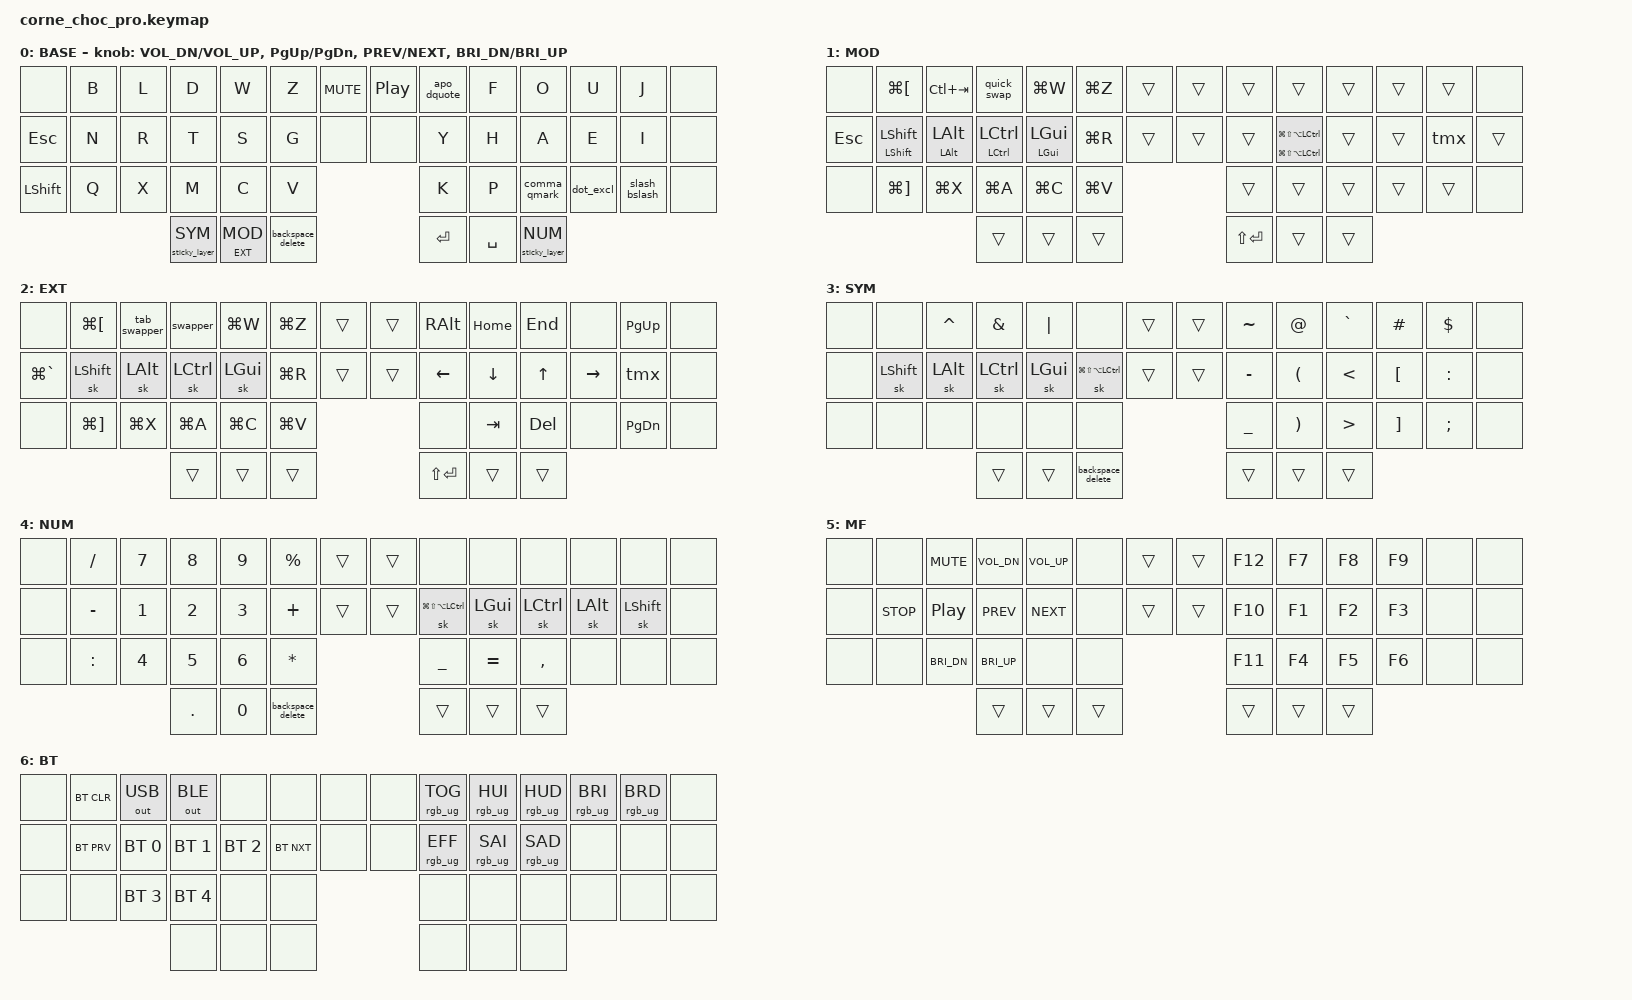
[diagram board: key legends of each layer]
//
// Corne Choc Pro layout — synced from Totem config
// - Graphite base
// - Dedicated MOD layer instead of base home row mods
// - Hold EXT for navigation/editing, tap EXT for sticky MOD
// - EXT left hand: one-handed mouse companion (swapper, history, clipboard),
//   mirrored on MOD so tap-then-key one-shots the same shortcuts
// - Dedicated Escape on the far-left home row; Shift directly below it
// - Dedicated Backspace, Enter, and Space; sticky-tap/held SYM and NUM
// - Backspace stays on the inner-left thumb on SYM and NUM (Shift + Backspace sends Delete)
// - Delete stays on the EXT comma position
// - Symbols prioritized for markup and writing
// - SYM + NUM opens the shared media/function layer
// - MOD/EXT + NUM opens the BT layer
// - BT controls on left, RGB controls on right of BT layer
//
// Extra Corne keys vs Totem:
//   Middle-row left outer (pos 14) → Escape
//   Bottom-row left outer (pos 28) → Shift
//   Top-row outers (pos 0, 13), middle-row right outer (pos 27),
//   and bottom-row right outer (pos 39) → &none
//   Center keys (pos 6, 7, 20, 21) → encoder press / &none

#include <behaviors.dtsi>
#include <dt-bindings/zmk/keys.h>
#include <dt-bindings/zmk/bt.h>
#include <dt-bindings/zmk/outputs.h>
#include <dt-bindings/zmk/rgb.h>

#define BASE 0
#define MOD  1
#define EXT  2
#define SYM  3
#define NUM  4
#define MF   5
#define BT   6

#define HYPER_MOD LG(LS(LA(LCTRL)))

/ {
    chosen {
        zmk,physical-layout = &default_layout;
    };
};

/ {
    behaviors {
        apo_dquote: apostrophe_doublequote {
            compatible = "zmk,behavior-mod-morph";
            #binding-cells = <0>;
            bindings = <&kp SQT>, <&kp DQT>;
            mods = <(MOD_LSFT|MOD_RSFT)>;
        };

        comma_qmark: comma_question_mark {
            compatible = "zmk,behavior-mod-morph";
            #binding-cells = <0>;
            bindings = <&kp COMMA>, <&kp QMARK>;
            mods = <(MOD_LSFT|MOD_RSFT)>;
        };

        dot_excl: dot_exclamation {
            compatible = "zmk,behavior-mod-morph";
            #binding-cells = <0>;
            bindings = <&kp DOT>, <&kp EXCL>;
            mods = <(MOD_LSFT|MOD_RSFT)>;
        };

        slash_bslash: slash_backslash {
            compatible = "zmk,behavior-mod-morph";
            #binding-cells = <0>;
            bindings = <&kp FSLH>, <&kp BSLH>;
            mods = <(MOD_LSFT|MOD_RSFT)>;
        };

        backspace_delete: backspace_delete {
            compatible = "zmk,behavior-mod-morph";
            #binding-cells = <0>;
            bindings = <&kp BSPC>, <&kp DEL>;
            mods = <(MOD_LSFT|MOD_RSFT)>;
        };

        hm: hybrid_mod {
            compatible = "zmk,behavior-hold-tap";
            #binding-cells = <2>;
            flavor = "tap-preferred";
            tapping-term-ms = <300>;
            quick-tap-ms = <175>;
            bindings = <&kp>, <&sk>;
            retro-tap;
        };

        ext_mod: ext_or_mod {
            compatible = "zmk,behavior-hold-tap";
            #binding-cells = <2>;
            flavor = "balanced";
            tapping-term-ms = <200>;
            quick-tap-ms = <175>;
            bindings = <&mo>, <&sl>;
            retro-tap;
        };

        // Cmd-Tab app switcher: holds Cmd across taps, released on
        // interrupt (any other key or leaving EXT). Sticky Shift (pos 15)
        // is ignored so it can reverse-cycle without dropping Cmd.
        swapper: swapper {
            compatible = "zmk,behavior-tri-state";
            #binding-cells = <0>;
            bindings = <&kt LGUI>, <&kp TAB>, <&kt LGUI>;
            ignored-key-positions = <15>;
        };

        // Ctrl-Tab tab switcher: same tri-state as swapper but holds Ctrl,
        // so taps cycle tabs while the browser switcher stays up. Sticky
        // Shift (pos 15) is ignored so it can reverse-cycle (Ctrl+Shift+Tab).
        tab_swapper: tab_swapper {
            compatible = "zmk,behavior-tri-state";
            #binding-cells = <0>;
            bindings = <&kt LCTRL>, <&kp TAB>, <&kt LCTRL>;
            ignored-key-positions = <15>;
        };

        // SYM/NUM activate immediately, stay sticky when tapped, and behave
        // momentarily when a non-modifier is pressed while held. Modifier
        // presses do not consume the sticky layer, allowing e.g. tap NUM,
        // tap Ctrl+Shift, then tap 1.
        sticky_layer: sticky_or_held_layer {
            compatible = "zmk,behavior-sticky-key";
            #binding-cells = <1>;
            release-after-ms = <1000>;
            bindings = <&mo>;
            quick-release;
            ignore-modifiers;
        };
    };

    macros {
        // Instant switch to previous app: Cmd released right away so
        // the macOS switcher UI never shows (unlike &kp LG(TAB)).
        quick_swap: quick_app_swap {
            compatible = "zmk,behavior-macro";
            #binding-cells = <0>;
            bindings = <&macro_press &kp LGUI>,
                       <&macro_tap &kp TAB>,
                       <&macro_release &kp LGUI>;
        };

        tmx: tmux_prefix {
            compatible = "zmk,behavior-macro";
            #binding-cells = <0>;
            bindings = <&macro_press &kp LCTRL>,
                       <&macro_tap &kp SPACE>,
                       <&macro_release &kp LCTRL>;
        };
    };

    combos {
        compatible = "zmk,combos";

        // Word-left: H + A (Corne positions 23 + 24)
        combo_word_left {
            timeout-ms = <50>;
            key-positions = <23 24>;
            bindings = <&kp LA(LEFT)>;
            layers = <EXT>;
        };

        // Word-right: A + E (Corne positions 24 + 25)
        combo_word_right {
            timeout-ms = <50>;
            key-positions = <24 25>;
            bindings = <&kp LA(RIGHT)>;
            layers = <EXT>;
        };

        // Keep parentheses, angle brackets, and square brackets on direct keys.
        // Braces use the same index-middle fingers: openings above, closings below.
        combo_sym_lbrc {
            timeout-ms = <50>;
            key-positions = <23 24>;
            bindings = <&kp LBRC>;
            layers = <SYM>;
        };

        combo_sym_rbrc {
            timeout-ms = <50>;
            key-positions = <35 36>;
            bindings = <&kp RBRC>;
            layers = <SYM>;
        };

        // The mirrored outer layer thumbs open Media/Function together.
        // Media/Function: SYM + NUM (Corne positions 40 + 45)
        combo_mf_layer_thumbs {
            timeout-ms = <100>;
            key-positions = <40 45>;
            bindings = <&mo MF>;
            layers = <BASE>;
        };

        // MOD/EXT + the right outer NUM key is reserved for maintenance.
        // BT layer: Corne positions 41 + 45.
        combo_bt {
            timeout-ms = <100>;
            key-positions = <41 45>;
            bindings = <&mo BT>;
            layers = <BASE>;
        };
    };

    keymap {
        compatible = "zmk,keymap";

        base_layer {
            label = "BASE";
            bindings = <
        //  ┌─extra─┐                                                          ┌─enc──┐ ┌─enc──┐                                                          ┌─extra─┐
            &none     &kp B        &kp L        &kp D        &kp W     &kp Z    &kp C_MUTE &kp C_PP &apo_dquote &kp F        &kp O        &kp U        &kp J     &none
        //  ┌outer-L┐                                                          ┌─ctr──┐ ┌─ctr──┐                                                          ┌outer-R┐
            &kp ESC    &kp N       &kp R        &kp T        &kp S     &kp G    &none  &none    &kp Y       &kp H        &kp A        &kp E        &kp I     &none
        //  ┌─extra─┐                                                                                                                                      ┌─extra─┐
            &kp LSHFT  &kp Q        &kp X        &kp M        &kp C     &kp V                    &kp K       &kp P        &comma_qmark &dot_excl    &slash_bslash &none
                                          &sticky_layer SYM      &ext_mod EXT MOD  &backspace_delete                    &kp RET  &kp SPACE  &sticky_layer NUM
            >;
            sensor-bindings = <&inc_dec_kp C_VOL_DN C_VOL_UP &inc_dec_kp PG_UP PG_DN &inc_dec_kp C_PREV C_NEXT &inc_dec_kp C_BRI_DN C_BRI_UP>;
        };

        mod_layer {
            label = "MOD";
            bindings = <
            &none        &kp LG(LBKT)  &kp LC(TAB)  &quick_swap  &kp LG(W)    &kp LG(Z)        &trans &trans &trans       &trans       &trans       &trans       &trans       &none
            &kp ESC       &hm LSHFT LSHFT &hm LALT LALT &hm LCTRL LCTRL &hm LGUI LGUI &kp LG(R) &trans &trans &trans &hm HYPER_MOD HYPER_MOD &trans &trans &tmx &trans
            &none        &kp LG(RBKT)  &kp LG(X)    &kp LG(A)    &kp LG(C)    &kp LG(V)                     &trans       &trans       &trans       &trans       &trans       &none
                                             &trans       &trans       &trans                     &kp LS(RET)  &trans       &trans
            >;
        };

        ext_layer {
            label = "EXT";
            bindings = <
            &none        &kp LG(LBKT)  &tab_swapper &swapper     &kp LG(W)    &kp LG(Z)        &trans &trans &kp RALT     &kp HOME     &kp END      &none        &kp PG_UP    &none
            &kp LG(GRAVE) &sk LSHFT     &sk LALT     &sk LCTRL    &sk LGUI     &kp LG(R)        &trans &trans &kp LEFT     &kp DOWN     &kp UP       &kp RIGHT    &tmx         &none
            &none        &kp LG(RBKT)  &kp LG(X)    &kp LG(A)    &kp LG(C)    &kp LG(V)                     &none        &kp TAB      &kp DEL      &none        &kp PG_DN    &none
                                             &trans       &trans       &trans                      &kp LS(RET)  &trans       &trans
            >;
        };

        sym_layer {
            label = "SYM";
            bindings = <
            &none  &none        &kp CARET    &kp AMPS     &kp PIPE     &none         &trans &trans &kp TILDE    &kp AT       &kp GRAVE    &kp HASH     &kp DLLR     &none
            &none  &sk LSHFT    &sk LALT     &sk LCTRL    &sk LGUI     &sk HYPER_MOD &trans &trans &kp MINUS    &kp LPAR     &kp LT       &kp LBKT     &kp COLON    &none
            &none  &none        &none        &none        &none        &none                      &kp UNDER    &kp RPAR     &kp GT       &kp RBKT     &kp SEMI     &none
                                             &trans       &trans       &backspace_delete           &trans       &trans       &trans
            >;
        };

        num_layer {
            label = "NUM";
            bindings = <
            &none  &kp FSLH     &kp N7       &kp N8       &kp N9       &kp PRCNT     &trans &trans &none        &none        &none        &none        &none        &none
            &none  &kp MINUS    &kp N1       &kp N2       &kp N3       &kp PLUS      &trans &trans &sk HYPER_MOD &sk LGUI    &sk LCTRL    &sk LALT     &sk LSHFT    &none
            &none  &kp COLON    &kp N4       &kp N5       &kp N6       &kp ASTRK                  &kp UNDER    &kp EQUAL    &kp COMMA    &none        &none        &none
                                             &kp DOT      &kp N0       &backspace_delete            &trans       &trans       &trans
            >;
        };

        mf_layer {
            label = "MF";
            bindings = <
            &none  &none        &kp C_MUTE   &kp C_VOL_DN &kp C_VOL_UP &none         &trans &trans &kp F12      &kp F7       &kp F8       &kp F9       &none        &none
            &none  &kp C_STOP   &kp C_PP     &kp C_PREV   &kp C_NEXT   &none         &trans &trans &kp F10      &kp F1       &kp F2       &kp F3       &none        &none
            &none  &none        &kp C_BRI_DN &kp C_BRI_UP &none        &none                      &kp F11      &kp F4       &kp F5       &kp F6       &none        &none
                                             &trans       &trans       &trans                      &trans       &trans       &trans
            >;
        };

        bt_layer {
            label = "BT";
            bindings = <
            &none  &bt BT_CLR   &out OUT_USB &out OUT_BLE &none        &none         &none  &none  &rgb_ug RGB_TOG &rgb_ug RGB_HUI &rgb_ug RGB_HUD &rgb_ug RGB_BRI &rgb_ug RGB_BRD &none
            &none  &bt BT_PRV   &bt BT_SEL 0 &bt BT_SEL 1 &bt BT_SEL 2 &bt BT_NXT  &none  &none  &rgb_ug RGB_EFF &rgb_ug RGB_SAI &rgb_ug RGB_SAD &none           &none           &none
            &none  &none        &bt BT_SEL 3 &bt BT_SEL 4 &none        &none                      &none           &none           &none           &none           &none           &none
                                             &none        &none        &none                       &none           &none           &none
            >;
        };
    };
};
